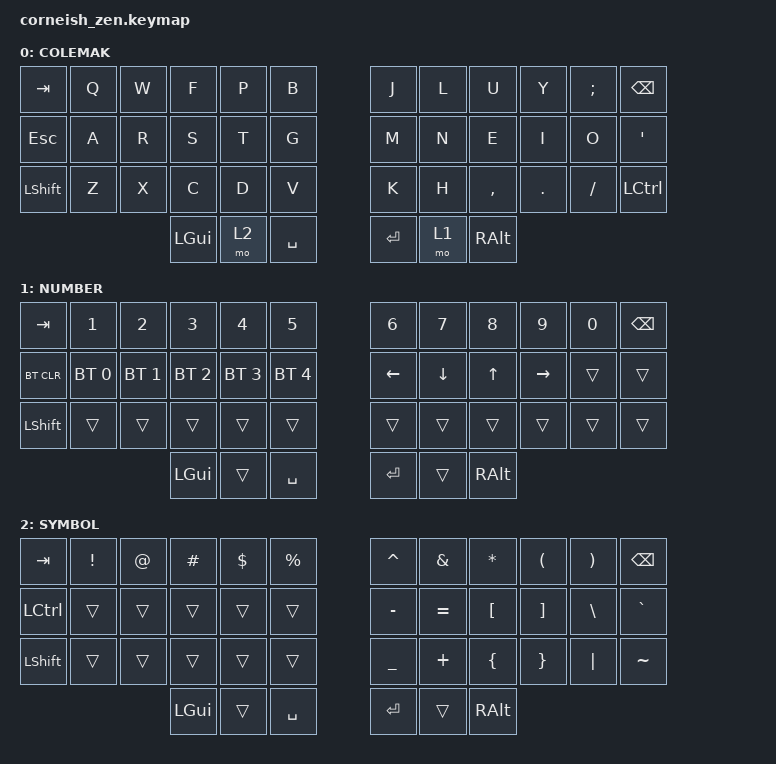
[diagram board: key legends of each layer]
#include <behaviors.dtsi>
#include <dt-bindings/zmk/keys.h>
#include <dt-bindings/zmk/bt.h>

/ {
 chosen {
        zmk,physical-layout = &foostan_corne_6col_layout;
        // zmk,physical-layout = &foostan_corne_5col_layout;
    };
  };

/ {
        keymap {
                compatible = "zmk,keymap";

                default_layer {
                        label = "COLEMAK";
// -----------------------------------------------------------------------------------------
// |  TAB |  Q  |  W  |  F  |  P  |  B  |   |  J  |  L   |  U  |  Y  |  ;  | BKSP |
// | CTRL |  A  |  R  |  D  |  T  |  G  |   |  M  |  N   |  E  |  I  |  O  |  '   |
// | SHFT |  Z  |  X  |  C  |  J  |  V  |   |  K  |  H   |  ,  |  .  |  /  | ESC  |
//                    | GUI | LWR | SPC |   | ENT | RSE  | ALT |
                        bindings = <
   &kp TAB   &kp Q &kp W &kp F &kp P &kp B   &kp J &kp L  &kp U     &kp Y   &kp SEMI &kp BSPC
   &kp ESC   &kp A &kp R &kp S &kp T &kp G   &kp M &kp N  &kp E     &kp I   &kp O    &kp SQT
   &kp LSHFT &kp Z &kp X &kp C &kp D &kp V   &kp K &kp H  &kp COMMA &kp DOT &kp FSLH &kp LCTL
                  &kp LGUI &mo 2 &kp SPACE   &kp RET &mo 1 &kp RALT
                        >;
                };
                lower_layer {
                        label = "NUMBER";
// -----------------------------------------------------------------------------------------
// |  TAB |  1  |  2  |  3  |  4  |  5  |   |  6  |  7  |  8  |  9  |  0  | BKSP |
// | BTCLR| BT1 | BT2 | BT3 | BT4 | BT5 |   | LFT | DWN |  UP | RGT |     |      |
// | SHFT |     |     |     |     |     |   |     |     |     |     |     |      |
//                    | GUI |     | SPC |   | ENT |     | ALT |
                        bindings = <
   &kp TAB    &kp N1       &kp N2       &kp N3       &kp N4       &kp N5         &kp N6   &kp N7   &kp N8 &kp N9    &kp N0 &kp BSPC
   &bt BT_CLR &bt BT_SEL 0 &bt BT_SEL 1 &bt BT_SEL 2 &bt BT_SEL 3 &bt BT_SEL 4   &kp LEFT &kp DOWN &kp UP &kp RIGHT &trans &trans
   &kp LSHFT  &trans       &trans       &trans       &trans       &trans         &trans   &trans   &trans &trans    &trans &trans
                          	        &kp LGUI     &trans       &kp SPACE      &kp RET  &trans   &kp RALT
                        >;
                };

                raise_layer {
                        label = "SYMBOL";
// -----------------------------------------------------------------------------------------
// |  TAB |  !  |  @  |  #  |  $  |  %  |   |  ^  |  &  |  *  |  (  |  )  | BKSP |
// | CTRL |     |     |     |     |     |   |  -  |  =  |  [  |  ]  |  \  |  `   |
// | SHFT |     |     |     |     |     |   |  _  |  +  |  {  |  }  | "|" |  ~   |
//                    | GUI |     | SPC |   | ENT |     | ALT |
                        bindings = <
   &kp  TAB  &kp EXCL &kp AT &kp HASH &kp DLLR &kp PRCNT   &kp CARET &kp AMPS  &kp STAR &kp LPAR &kp RPAR &kp BSPC
   &kp LCTRL &trans   &trans &trans   &trans   &trans      &kp MINUS &kp EQUAL &kp LBKT &kp RBKT &kp BSLH &kp GRAVE
   &kp LSHFT &trans   &trans &trans   &trans   &trans      &kp UNDER &kp PLUS  &kp LBRC &kp RBRC &kp PIPE &kp TILDE
                    	     &kp LGUI &trans   &kp SPACE   &kp RET   &trans    &kp RALT
                        >;
                };
        };
};
